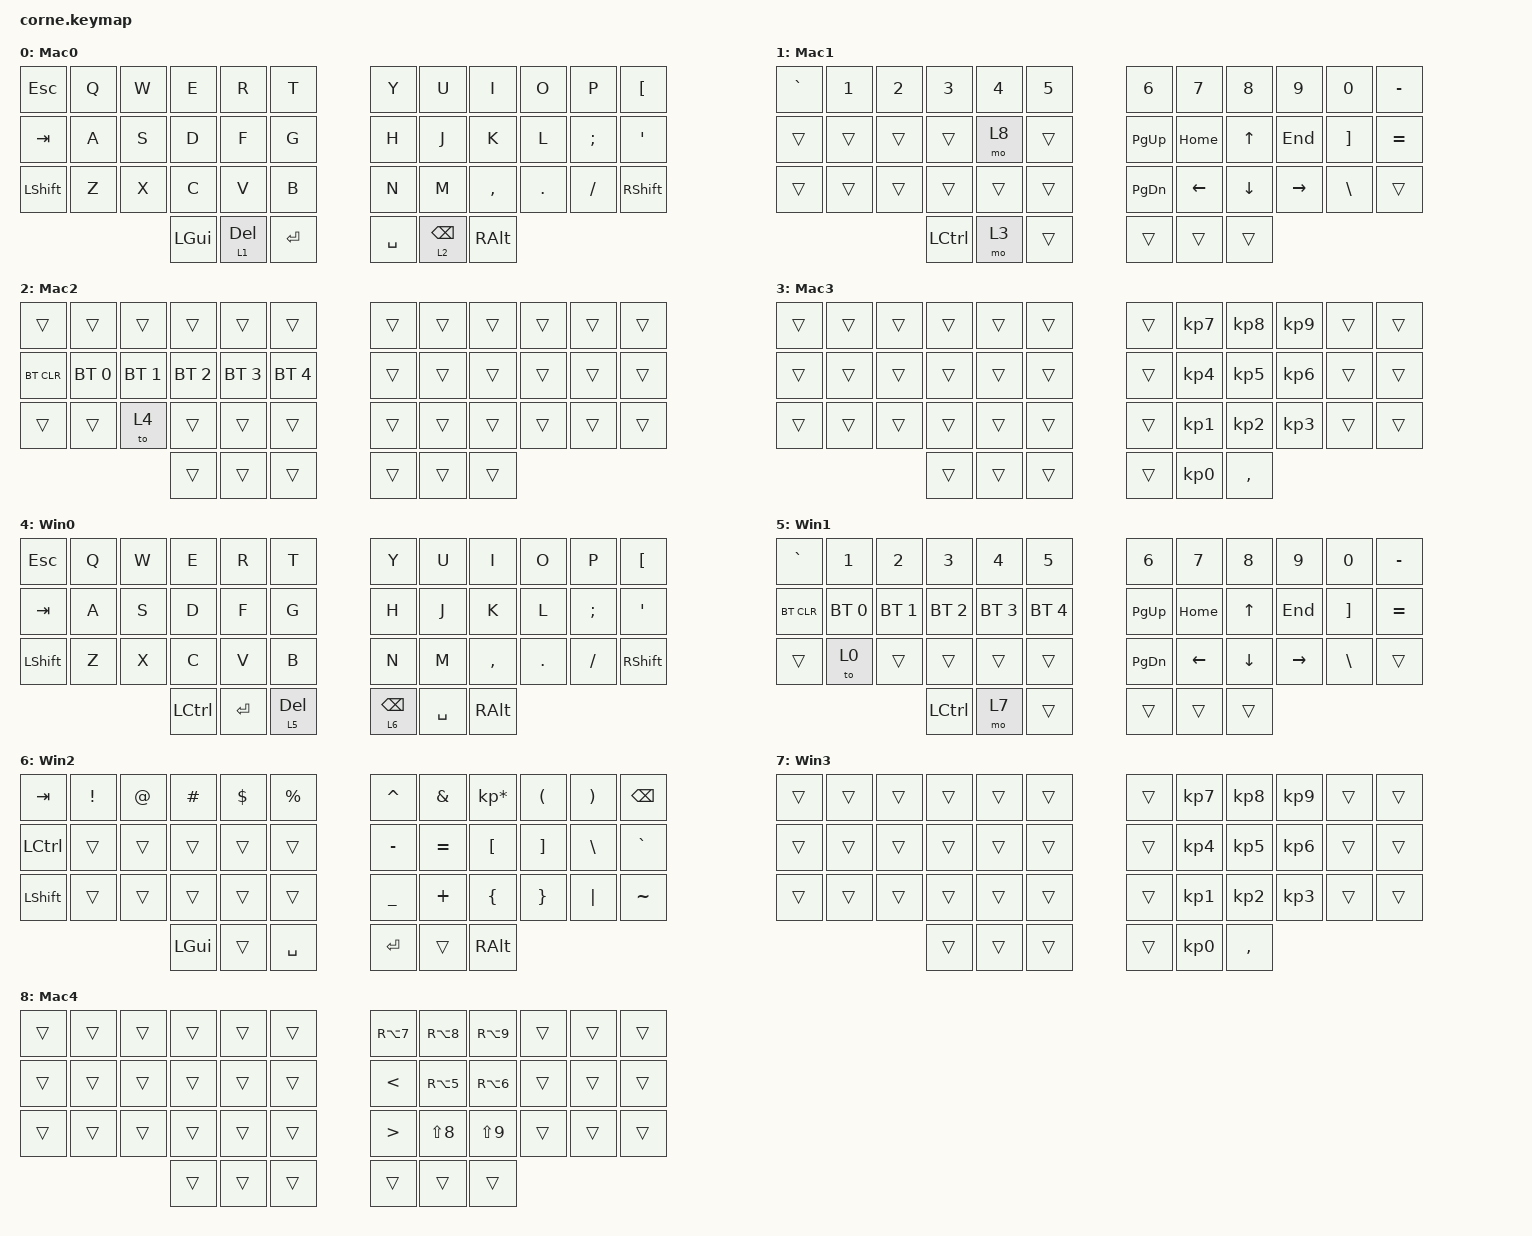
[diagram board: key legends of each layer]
/*
 * Copyright (c) 2020 The ZMK Contributors
 *
 * SPDX-License-Identifier: MIT
 */

#include <behaviors.dtsi>
#include <dt-bindings/zmk/bt.h>
#include <dt-bindings/zmk/keys.h>

/ {
    macros {
        macro_ue: macro_ue {
            compatible = "zmk,behavior-macro";
            #binding-cells = <0>;
            bindings = <&kp LA(KP_N0) &kp LA(KP_N0) &kp LA(F) &kp LA(C)>;
            label = "MACRO_UE";
        };

        macro_ae: macro_ae {
            compatible = "zmk,behavior-macro";
            #binding-cells = <0>;
            bindings = <&sk LEFT_ALT &kp N0 &kp N0 &kp E &kp N4>;
            label = "MACRO_AE";
        };

        macro_oe: macro_oe {
            compatible = "zmk,behavior-macro";
            #binding-cells = <0>;
            bindings = <&sk LEFT_ALT &kp N0 &kp N0 &kp F &kp N6>;
            label = "MACRO_OE";
        };
    };

    keymap {
        compatible = "zmk,keymap";

        Mac0 {
            // -----------------------------------------------------------------------------------------
            // |  TAB |  Q  |  W  |  E  |  R  |  T  |   |  Y  |  U   |  I  |  O  |  P  | BKSP |
            // | CTRL |  A  |  S  |  D  |  F  |  G  |   |  H  |  J   |  K  |  L  |  ;  |  '   |
            // | SHFT |  Z  |  X  |  C  |  V  |  B  |   |  N  |  M   |  ,  |  .  |  /  | ESC  |
            //                    | GUI | LWR | SPC |   | ENT | RSE  | ALT |

            display-name = "Mac0";
            bindings = <
&kp ESC    &kp Q  &kp W  &kp E     &kp R    &kp T           &kp Y            &kp U      &kp I      &kp O    &kp P      &kp LEFT_BRACKET
&kp TAB    &kp A  &kp S  &kp D     &kp F    &kp G           &kp H            &kp J      &kp K      &kp L    &kp SEMI   &kp SQT
&kp LSHFT  &kp Z  &kp X  &kp C     &kp V    &kp B           &kp N            &kp M      &kp COMMA  &kp DOT  &kp SLASH  &kp RIGHT_SHIFT
                         &kp LGUI  &lt 1 DELETE  &kp RET      &kp SPACE  &lt 2 BACKSPACE  &kp RALT
            >;
        };

        Mac1 {
            // -----------------------------------------------------------------------------------------
            // |  TAB |  1  |  2  |  3  |  4  |  5  |   |  6  |  7  |  8  |  9  |  0  | BKSP |
            // | BTCLR| BT1 | BT2 | BT3 | BT4 | BT5 |   | LFT | DWN |  UP | RGT |     |      |
            // | SHFT |     |     |     |     |     |   |     |     |     |     |     |      |
            //                    | GUI |     | SPC |   | ENT |     | ALT |

            display-name = "Mac1";
            bindings = <
&kp GRAVE  &kp N1  &kp N2  &kp N3     &kp N4  &kp N5    &kp N6         &kp N7    &kp N8        &kp N9     &kp N0             &kp MINUS
&trans     &trans  &trans  &trans     &mo 8   &trans    &kp PAGE_UP    &kp HOME  &kp UP_ARROW  &kp END    &kp RIGHT_BRACKET  &kp EQUAL
&trans     &trans  &trans  &trans     &trans  &trans    &kp PAGE_DOWN  &kp LEFT  &kp DOWN      &kp RIGHT  &kp BACKSLASH      &trans
                           &kp LCTRL  &mo 3   &trans    &trans         &trans    &trans
            >;
        };

        Mac2 {
            // -----------------------------------------------------------------------------------------
            // |  TAB |  !  |  @  |  #  |  $  |  %  |   |  ^  |  &  |  *  |  (  |  )  | BKSP |
            // | CTRL |     |     |     |     |     |   |  -  |  =  |  [  |  ]  |  \  |  `   |
            // | SHFT |     |     |     |     |     |   |  _  |  +  |  {  |  }  | "|" |  ~   |
            //                    | GUI |     | SPC |   | ENT |     | ALT |

            display-name = "Mac2";
            bindings = <
&trans      &trans        &trans        &trans        &trans        &trans          &trans  &trans  &trans  &trans  &trans  &trans
&bt BT_CLR  &bt BT_SEL 0  &bt BT_SEL 1  &bt BT_SEL 2  &bt BT_SEL 3  &bt BT_SEL 4    &trans  &trans  &trans  &trans  &trans  &trans
&trans      &trans        &to 4         &trans        &trans        &trans          &trans  &trans  &trans  &trans  &trans  &trans
                                        &trans        &trans        &trans          &trans  &trans  &trans
            >;
        };

        Mac3 {
            display-name = "Mac3";
            bindings = <
&trans  &trans  &trans  &trans  &trans  &trans    &trans  &kp KP_N7  &kp KP_N8  &kp KP_N9        &trans  &trans
&trans  &trans  &trans  &trans  &trans  &trans    &trans  &kp KP_N4  &kp KP_N5  &kp KP_NUMBER_6  &trans  &trans
&trans  &trans  &trans  &trans  &trans  &trans    &trans  &kp KP_N1  &kp KP_N2  &kp KP_N3        &trans  &trans
                        &trans  &trans  &trans    &trans  &kp KP_N0  &kp COMMA
            >;
        };

        Win0 {
            display-name = "Win0";
            bindings = <
&kp ESC         &kp Q  &kp W  &kp E             &kp R    &kp T        &kp Y            &kp U      &kp I          &kp O       &kp P      &kp LEFT_BRACKET
&kp TAB         &kp A  &kp S  &kp D             &kp F    &kp G        &kp H            &kp J      &kp K          &kp L       &kp SEMI   &kp SQT
&kp LEFT_SHIFT  &kp Z  &kp X  &kp C             &kp V    &kp B        &kp N            &kp M      &kp COMMA      &kp PERIOD  &kp SLASH  &kp RIGHT_SHIFT
                              &kp LEFT_CONTROL  &kp RET  &lt 5 DEL    &lt 6 BACKSPACE  &kp SPACE  &kp RIGHT_ALT
            >;
        };

        Win1 {
            display-name = "Win1";
            bindings = <
&kp GRAVE   &kp N1        &kp N2        &kp N3        &kp N4        &kp N5          &kp N6         &kp N7    &kp N8        &kp N9     &kp N0             &kp MINUS
&bt BT_CLR  &bt BT_SEL 0  &bt BT_SEL 1  &bt BT_SEL 2  &bt BT_SEL 3  &bt BT_SEL 4    &kp PAGE_UP    &kp HOME  &kp UP_ARROW  &kp END    &kp RIGHT_BRACKET  &kp EQUAL
&trans      &to 0         &trans        &trans        &trans        &trans          &kp PAGE_DOWN  &kp LEFT  &kp DOWN      &kp RIGHT  &kp BACKSLASH      &trans
                                        &kp LCTRL     &mo 7         &trans          &trans         &trans    &trans
            >;
        };

        Win2 {
            display-name = "Win2";
            bindings = <
&kp TAB    &kp EXCL  &kp AT  &kp HASH  &kp DLLR  &kp PRCNT    &kp CARET  &kp AMPS   &kp KP_MULTIPLY  &kp LPAR  &kp RPAR  &kp BSPC
&kp LCTRL  &trans    &trans  &trans    &trans    &trans       &kp MINUS  &kp EQUAL  &kp LBKT         &kp RBKT  &kp BSLH  &kp GRAVE
&kp LSHFT  &trans    &trans  &trans    &trans    &trans       &kp UNDER  &kp PLUS   &kp LBRC         &kp RBRC  &kp PIPE  &kp TILDE
                             &kp LGUI  &trans    &kp SPACE    &kp RET    &trans     &kp RALT
            >;
        };

        Win3 {
            display-name = "Win3";
            bindings = <
&trans  &trans  &trans  &trans  &trans  &trans    &trans  &kp KP_N7  &kp KP_N8  &kp KP_N9        &trans  &trans
&trans  &trans  &trans  &trans  &trans  &trans    &trans  &kp KP_N4  &kp KP_N5  &kp KP_NUMBER_6  &trans  &trans
&trans  &trans  &trans  &trans  &trans  &trans    &trans  &kp KP_N1  &kp KP_N2  &kp KP_N3        &trans  &trans
                        &trans  &trans  &trans    &trans  &kp KP_N0  &kp COMMA
            >;
        };

        Mac4 {
            display-name = "Mac4";
            bindings = <
&trans  &trans  &trans  &trans  &trans  &trans    &kp RA(N7)  &kp RA(N8)  &kp RA(N9)  &trans  &trans  &trans
&trans  &trans  &trans  &trans  &trans  &trans    &kp LT      &kp RA(N5)  &kp RA(N6)  &trans  &trans  &trans
&trans  &trans  &trans  &trans  &trans  &trans    &kp GT      &kp LS(N8)  &kp LS(N9)  &trans  &trans  &trans
                        &trans  &trans  &trans    &trans      &trans      &trans
            >;
        };
    };
};
